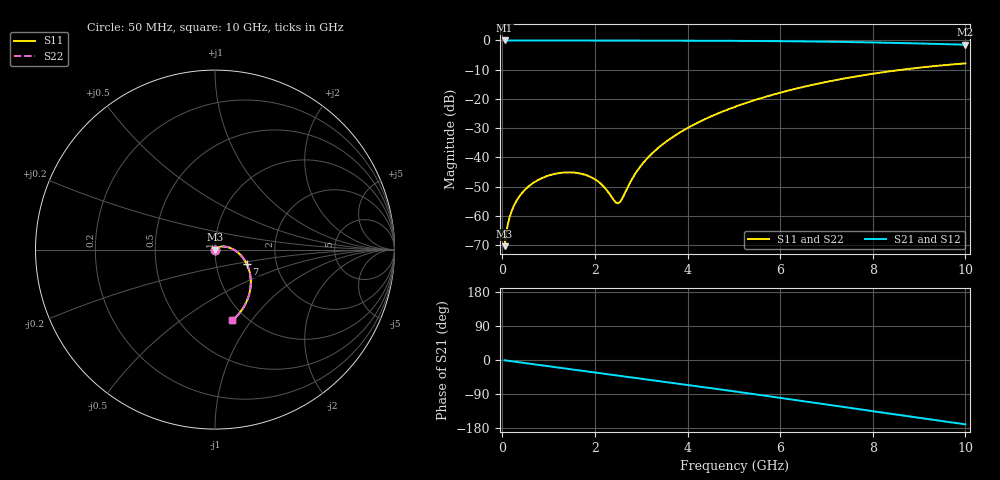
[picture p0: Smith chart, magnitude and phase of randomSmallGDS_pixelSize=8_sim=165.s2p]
! freq	dB(S11)	phase(S11)	dB(S12)	phase(S12)
!  dB(S21)	phase(S21)	dB(S22)	phase(S22)
!S-par simulation data
#  GHz  S  DB  R 50
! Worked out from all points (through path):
!   200 points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, 50 MHz to 10 GHz, reference 50 ohm
!   highest |S21| = 0.00 dB at 50 MHz (marker M1); lowest = -1.5 dB at 10 GHz (marker M2)
!   group delay of S21, straight-line fit = 47.3 ps
!   lowest |S11| = -70.4 dB at 50 MHz (marker M3), VSWR 1.00, Z = 50 - j0.0302 ohm
!   |S11| at or under -10 dB: start of sweep to 8.636 GHz
!   |S22| runs from -70.4 to -7.8 dB; largest |S21 - S12| = 0
!   S11 on the Smith chart (normalised r, x): 50 MHz: 1.00, -0.00; 7 GHz: 1.41, -0.24; 10 GHz: 0.86, -0.81
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0.05  -70.40 -86.9  -0.00 -0.8  -0.00 -0.8  -70.40 -86.9
0.1  -64.42 -90.2  -0.00 -1.6  -0.00 -1.6  -64.42 -90.2
0.2  -58.47 -93.6  -0.00 -3.3  -0.00 -3.3  -58.47 -93.6
0.35  -53.78 -97.4  -0.00 -5.7  -0.00 -5.7  -53.78 -97.4
0.55  -50.20 -101.8  -0.01 -9.0  -0.01 -9.0  -50.20 -101.8
0.85  -47.15 -108.1  -0.01 -13.9  -0.01 -13.9  -47.15 -108.1
1.15  -45.60 -114.5  -0.02 -18.8  -0.02 -18.8  -45.60 -114.5
1.75  -45.79 -129.7  -0.03 -28.5  -0.03 -28.5  -45.79 -129.7
2.1  -48.65 -144.6  -0.03 -34.3  -0.03 -34.3  -48.65 -144.6
2.5  -55.76 141.0  -0.04 -40.8  -0.04 -40.8  -55.76 141.0
2.55  -55.13 121.5  -0.04 -41.6  -0.04 -41.6  -55.13 121.5
2.8  -47.48 71.0  -0.05 -45.7  -0.05 -45.7  -47.48 71.0
2.95  -43.80 60.2  -0.05 -48.2  -0.05 -48.2  -43.80 60.2
3.4  -36.34 43.6  -0.06 -55.7  -0.06 -55.7  -36.34 43.6
4.1  -29.10 28.0  -0.09 -67.4  -0.09 -67.4  -29.10 28.0
5.05  -22.57 10.1  -0.14 -83.5  -0.14 -83.5  -22.57 10.1
5.85  -18.54 -4.2  -0.22 -97.3  -0.22 -97.3  -18.54 -4.2
6.7  -15.18 -19.4  -0.35 -112.1  -0.35 -112.1  -15.18 -19.4
7  -14.18 -24.7  -0.41 -117.4  -0.41 -117.4  -14.18 -24.7
8.35  -10.59 -48.3  -0.79 -141.2  -0.79 -141.2  -10.59 -48.3
9.15  -9.06 -62.0  -1.09 -155.2  -1.09 -155.2  -9.06 -62.0
10  -7.85 -76.2  -1.45 -169.8  -1.45 -169.8  -7.85 -76.2
